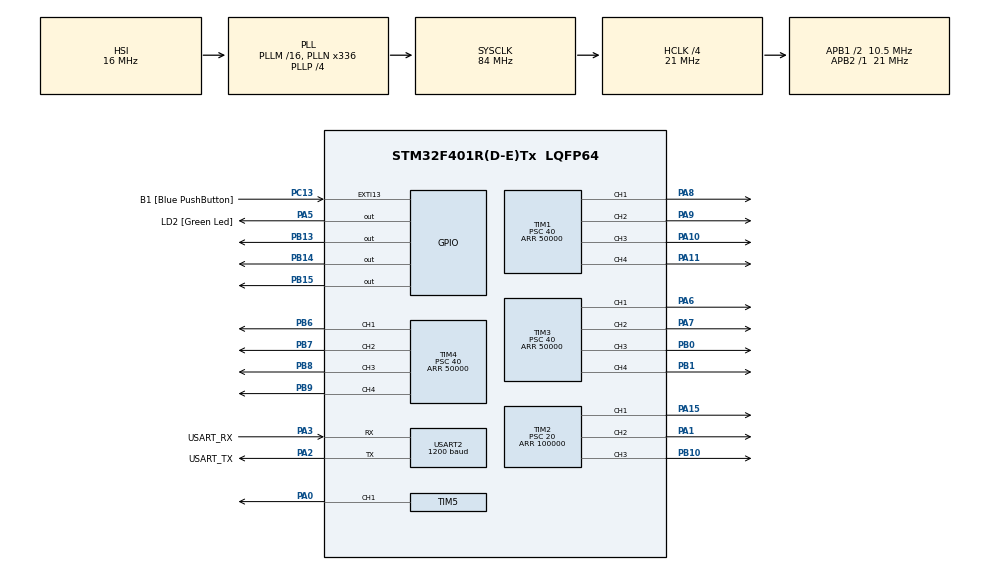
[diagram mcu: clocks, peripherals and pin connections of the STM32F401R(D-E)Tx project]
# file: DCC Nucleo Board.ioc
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Mcu.Family=STM32F4
Mcu.Name=STM32F401R(D-E)Tx
Mcu.Package=LQFP64
NVIC.PriorityGroup=NVIC_PRIORITYGROUP_4
NVIC.USART2_IRQn=true\:0\:0\:false\:false\:true\:true\:true\:true
PA0-WKUP.Signal=S_TIM5_CH1
PA1.Signal=S_TIM2_CH2
PA10.Signal=S_TIM1_CH3
PA11.Signal=S_TIM1_CH4
PA13.GPIO_Label=TMS
PA13.Mode=Trace_Asynchronous_SW
PA13.Signal=SYS_JTMS-SWDIO
PA14.GPIO_Label=TCK
PA14.Mode=Trace_Asynchronous_SW
PA14.Signal=SYS_JTCK-SWCLK
PA15.Signal=S_TIM2_CH1_ETR
PA2.GPIO_Label=USART_TX
PA2.GPIO_Mode=GPIO_MODE_AF_PP
PA2.GPIO_PuPd=GPIO_NOPULL
PA2.GPIO_Speed=GPIO_SPEED_FREQ_LOW
PA2.Mode=Asynchronous
PA2.Signal=USART2_TX
PA3.GPIO_Label=USART_RX
PA3.GPIO_Mode=GPIO_MODE_AF_PP
PA3.GPIO_PuPd=GPIO_NOPULL
PA3.GPIO_Speed=GPIO_SPEED_FREQ_LOW
PA3.Mode=Asynchronous
PA3.Signal=USART2_RX
PA5.GPIO_Label=LD2 [Green Led]
PA5.GPIO_PuPd=GPIO_NOPULL
PA5.GPIO_Speed=GPIO_SPEED_FREQ_LOW
PA5.Signal=GPIO_Output
PA6.Signal=S_TIM3_CH1
PA7.Signal=S_TIM3_CH2
PA8.Signal=S_TIM1_CH1
PA9.Signal=S_TIM1_CH2
PB0.Signal=S_TIM3_CH3
PB1.Signal=S_TIM3_CH4
PB10.Signal=S_TIM2_CH3
PB13.Signal=GPIO_Output
PB14.Signal=GPIO_Output
PB15.Signal=GPIO_Output
PB3.GPIO_Label=SWO
PB3.Mode=Trace_Asynchronous_SW
PB3.Signal=SYS_JTDO-SWO
PB6.Signal=S_TIM4_CH1
PB7.Signal=S_TIM4_CH2
PB8.Signal=S_TIM4_CH3
PB9.Signal=S_TIM4_CH4
PC13-ANTI_TAMP.GPIO_Label=B1 [Blue PushButton]
PC13-ANTI_TAMP.GPIO_ModeDefaultEXTI=GPIO_MODE_IT_FALLING
PC13-ANTI_TAMP.GPIO_PuPd=GPIO_NOPULL
PC13-ANTI_TAMP.Signal=GPXTI13
PC14-OSC32_IN.Mode=LSE-External-Oscillator
PC14-OSC32_IN.Signal=RCC_OSC32_IN
PC15-OSC32_OUT.Mode=LSE-External-Oscillator
PC15-OSC32_OUT.Signal=RCC_OSC32_OUT
PH0\ -\ OSC_IN.Mode=HSE-External-Clock-Source
PH0\ -\ OSC_IN.Signal=RCC_OSC_IN
PH1\ -\ OSC_OUT.Mode=HSE-External-Clock-Source
PH1\ -\ OSC_OUT.Signal=RCC_OSC_OUT
ProjectManager.HeapSize=0x200
ProjectManager.StackSize=0x400
ProjectManager.TargetToolchain=STM32CubeIDE
RCC.48MHZClocksFreq_Value=48000000
RCC.AHBCLKDivider=RCC_SYSCLK_DIV4
RCC.AHBFreq_Value=21000000
RCC.APB1CLKDivider=RCC_HCLK_DIV2
RCC.APB1Freq_Value=10500000
RCC.APB1TimFreq_Value=21000000
RCC.APB2Freq_Value=21000000
RCC.APB2TimFreq_Value=21000000
RCC.CortexFreq_Value=21000000
RCC.HCLKFreq_Value=21000000
RCC.HSE_VALUE=8000000
RCC.HSI_VALUE=16000000
RCC.PLLN=336
RCC.PLLP=RCC_PLLP_DIV4
RCC.PLLQ=7
RCC.SYSCLKFreq_VALUE=84000000
RCC.SYSCLKSource=RCC_SYSCLKSOURCE_PLLCLK
RCC.VCOOutputFreq_Value=336000000
SH.S_TIM1_CH1.0=TIM1_CH1,PWM Generation1 CH1
SH.S_TIM1_CH2.0=TIM1_CH2,PWM Generation2 CH2
SH.S_TIM1_CH3.0=TIM1_CH3,Output Compare3 CH3
SH.S_TIM1_CH4.0=TIM1_CH4,Output Compare4 CH4
SH.S_TIM2_CH1_ETR.0=TIM2_CH1,PWM Generation1 CH1
SH.S_TIM2_CH2.0=TIM2_CH2,PWM Generation2 CH2
SH.S_TIM2_CH3.0=TIM2_CH3,PWM Generation3 CH3
SH.S_TIM3_CH1.0=TIM3_CH1,PWM Generation1 CH1
SH.S_TIM3_CH2.0=TIM3_CH2,PWM Generation2 CH2
SH.S_TIM3_CH3.0=TIM3_CH3,PWM Generation3 CH3
SH.S_TIM3_CH4.0=TIM3_CH4,PWM Generation4 CH4
SH.S_TIM4_CH1.0=TIM4_CH1,PWM Generation1 CH1
SH.S_TIM4_CH2.0=TIM4_CH2,PWM Generation2 CH2
SH.S_TIM4_CH3.0=TIM4_CH3,PWM Generation3 CH3
SH.S_TIM4_CH4.0=TIM4_CH4,PWM Generation4 CH4
SH.S_TIM5_CH1.0=TIM5_CH1,PWM Generation1 CH1
TIM1.Channel-Output\ Compare3\ CH3=TIM_CHANNEL_3
TIM1.Channel-Output\ Compare4\ CH4=TIM_CHANNEL_4
TIM1.Channel-PWM\ Generation1\ CH1=TIM_CHANNEL_1
TIM1.Channel-PWM\ Generation2\ CH2=TIM_CHANNEL_2
TIM1.Period=50000
TIM1.Prescaler=40
TIM2.Channel-PWM\ Generation1\ CH1=TIM_CHANNEL_1
TIM2.Channel-PWM\ Generation2\ CH2=TIM_CHANNEL_2
TIM2.Channel-PWM\ Generation3\ CH3=TIM_CHANNEL_3
TIM2.Period=100000
TIM2.Prescaler=20
TIM2.Pulse-PWM\ Generation1\ CH1=0
TIM3.Channel-PWM\ Generation1\ CH1=TIM_CHANNEL_1
TIM3.Channel-PWM\ Generation2\ CH2=TIM_CHANNEL_2
TIM3.Channel-PWM\ Generation3\ CH3=TIM_CHANNEL_3
TIM3.Channel-PWM\ Generation4\ CH4=TIM_CHANNEL_4
TIM3.Period=50000
TIM3.Prescaler=40
TIM4.Channel-PWM\ Generation1\ CH1=TIM_CHANNEL_1
TIM4.Channel-PWM\ Generation2\ CH2=TIM_CHANNEL_2
TIM4.Channel-PWM\ Generation3\ CH3=TIM_CHANNEL_3
TIM4.Channel-PWM\ Generation4\ CH4=TIM_CHANNEL_4
TIM4.Period=50000
TIM4.Prescaler=40
TIM5.Channel-PWM\ Generation1\ CH1=TIM_CHANNEL_1
TIM5.Period=50000
TIM5.Prescaler=40
USART2.BaudRate=1200
USART2.VirtualMode=VM_ASYNC
VP_TIM1_VS_ClockSourceINT.Mode=Internal
VP_TIM2_VS_ClockSourceINT.Mode=Internal
VP_TIM3_VS_ClockSourceINT.Mode=Internal
VP_TIM4_VS_ClockSourceINT.Mode=Internal
VP_TIM5_VS_ClockSourceINT.Mode=Internal
board=NUCLEO-F401RE

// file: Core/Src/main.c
/* USER CODE BEGIN Header */
/**
  ******************************************************************************
  * @file           : main.c
  * @brief          : Main program body
  ******************************************************************************
  * @attention
  *
  * Copyright (c) 2025 STMicroelectronics.
  * All rights reserved.
  *
  * This software is licensed under terms that can be found in the LICENSE file
  * in the root directory of this software component.
  * If no LICENSE file comes with this software, it is provided AS-IS.
  *
  ******************************************************************************
  */
/* USER CODE END Header */
#include "main.h"

/* USER CODE BEGIN Includes */
#include "AD9833.h"
#include "string.h"
#include <stdlib.h>
#include <stdio.h>
/* USER CODE END Includes */

TIM_HandleTypeDef htim1;
TIM_HandleTypeDef htim2;
TIM_HandleTypeDef htim3;
TIM_HandleTypeDef htim4;
TIM_HandleTypeDef htim5;

UART_HandleTypeDef huart2;

/* USER CODE BEGIN PV */
uint8_t rx_data[1];        // buffer temporal de recepción
uint8_t rx_buffer[32];     // buffer donde vamos acumulando
int rx_index = 0;      // índice de escritura
uint8_t final_data[32];
int change_frequency = 0;
float final_freq = 0.0;
char buffer[50];
/* USER CODE END PV */

void SystemClock_Config(void);
static void MX_GPIO_Init(void);
static void MX_USART2_UART_Init(void);
static void MX_TIM2_Init(void);
static void MX_TIM1_Init(void);
static void MX_TIM3_Init(void);
static void MX_TIM4_Init(void);
static void MX_TIM5_Init(void);

/* USER CODE BEGIN 0 */
void HAL_UART_RxCpltCallback(UART_HandleTypeDef *huart)
{
    if (huart->Instance == USART2)  // <- MUY IMPORTANTE
    {
     memcpy(rx_buffer+rx_index,rx_data,1);
     rx_index++;
     if(rx_index >=32) rx_index=0;
        HAL_UART_Receive_IT(&huart2, rx_data, 1);  // volver a activar recepción
    }
}
/* USER CODE END 0 */

int main(void)
{

  /* MCU Configuration--------------------------------------------------------*/

  /* Reset of all peripherals, Initializes the Flash interface and the Systick. */
  HAL_Init();

  /* Configure the system clock */
  SystemClock_Config();

  /* Initialize all configured peripherals */
  MX_GPIO_Init();
  MX_USART2_UART_Init();
  MX_TIM2_Init();
  MX_TIM1_Init();
  MX_TIM3_Init();
  MX_TIM4_Init();
  MX_TIM5_Init();
  /* USER CODE BEGIN 2 */
  HAL_UART_Receive_IT(&huart2, rx_data, 1);
  // Set PWM Duty Cicles and initilize them

  TIM1->CCR1=25000;
  TIM1->CCR2=25000;
  TIM1->CCR3=25000;
  TIM1->CCR4=25000;

  TIM2->CCR1=50000;
  TIM2->CCR2=50000;
  TIM2->CCR3=50000;
  TIM2->CCR4=50000;

  TIM3->CCR1=25000;
  TIM3->CCR2=25000;
  TIM3->CCR3=25000;
  TIM3->CCR4=25000;

  TIM4->CCR1=25000;
  TIM4->CCR2=25000;
  TIM4->CCR3=25000;

  TIM5->CCR1=25000;

  HAL_TIM_PWM_Start(&htim1, TIM_CHANNEL_1);
  HAL_TIM_PWM_Start(&htim1, TIM_CHANNEL_2);
  HAL_TIM_PWM_Start(&htim1, TIM_CHANNEL_3);
  HAL_TIM_PWM_Start(&htim1, TIM_CHANNEL_4);

  HAL_TIM_PWM_Start(&htim2, TIM_CHANNEL_1);
  HAL_TIM_PWM_Start(&htim2, TIM_CHANNEL_2);
  HAL_TIM_PWM_Start(&htim2, TIM_CHANNEL_3);
  HAL_TIM_PWM_Start(&htim2, TIM_CHANNEL_4);

  HAL_TIM_PWM_Start(&htim3, TIM_CHANNEL_1);
  HAL_TIM_PWM_Start(&htim3, TIM_CHANNEL_2);
  HAL_TIM_PWM_Start(&htim3, TIM_CHANNEL_3);
  HAL_TIM_PWM_Start(&htim3, TIM_CHANNEL_4);

  HAL_TIM_PWM_Start(&htim4, TIM_CHANNEL_1);
  HAL_TIM_PWM_Start(&htim4, TIM_CHANNEL_2);
  HAL_TIM_PWM_Start(&htim4, TIM_CHANNEL_3);

  //HAL_TIM_PWM_Start(&htim5, TIM_CHANNEL_5);

  // Initial set of HIFREQ signal
  AD9833_Init(SQR, 1000.0, 0.0);

  /* USER CODE END 2 */

  /* Infinite loop */
  while (1)
  {

    /* USER CODE BEGIN 3 */
	   if(rx_data[0]=='\n'){
	    rx_data[0]='\0';  // actualiza rx_data[0] para que no entre infinito en el if.
	    memcpy(final_data,rx_buffer,rx_index); // copia buffer a final data
	    rx_index=0; // reinicia cuenta del buffer
	    final_freq = atof((char (*)) final_data); // guarda dato de string a float.
	    AD9833_Init(SQR, final_freq, 0.0);
	    sprintf(buffer, "Freq: %.f Hz\r\n", final_freq);
	    HAL_UART_Transmit(&huart2, (uint8_t*)buffer, strlen(buffer), HAL_MAX_DELAY);
	   }
  }
  /* USER CODE END 3 */
}

void SystemClock_Config(void)
{
  RCC_OscInitTypeDef RCC_OscInitStruct = {0};
  RCC_ClkInitTypeDef RCC_ClkInitStruct = {0};

  /** Configure the main internal regulator output voltage
  */
  __HAL_RCC_PWR_CLK_ENABLE();
  __HAL_PWR_VOLTAGESCALING_CONFIG(PWR_REGULATOR_VOLTAGE_SCALE2);

  /** Initializes the RCC Oscillators according to the specified parameters
  * in the RCC_OscInitTypeDef structure.
  */
  RCC_OscInitStruct.OscillatorType = RCC_OSCILLATORTYPE_HSI;
  RCC_OscInitStruct.HSIState = RCC_HSI_ON;
  RCC_OscInitStruct.HSICalibrationValue = RCC_HSICALIBRATION_DEFAULT;
  RCC_OscInitStruct.PLL.PLLState = RCC_PLL_ON;
  RCC_OscInitStruct.PLL.PLLSource = RCC_PLLSOURCE_HSI;
  RCC_OscInitStruct.PLL.PLLM = 16;
  RCC_OscInitStruct.PLL.PLLN = 336;
  RCC_OscInitStruct.PLL.PLLP = RCC_PLLP_DIV4;
  RCC_OscInitStruct.PLL.PLLQ = 7;
  if (HAL_RCC_OscConfig(&RCC_OscInitStruct) != HAL_OK)
  {
    Error_Handler();
  }

  /** Initializes the CPU, AHB and APB buses clocks
  */
  RCC_ClkInitStruct.ClockType = RCC_CLOCKTYPE_HCLK|RCC_CLOCKTYPE_SYSCLK
                              |RCC_CLOCKTYPE_PCLK1|RCC_CLOCKTYPE_PCLK2;
  RCC_ClkInitStruct.SYSCLKSource = RCC_SYSCLKSOURCE_PLLCLK;
  RCC_ClkInitStruct.AHBCLKDivider = RCC_SYSCLK_DIV4;
  RCC_ClkInitStruct.APB1CLKDivider = RCC_HCLK_DIV2;
  RCC_ClkInitStruct.APB2CLKDivider = RCC_HCLK_DIV1;

  if (HAL_RCC_ClockConfig(&RCC_ClkInitStruct, FLASH_LATENCY_0) != HAL_OK)
  {
    Error_Handler();
  }
}

static void MX_TIM1_Init(void)
{

  TIM_ClockConfigTypeDef sClockSourceConfig = {0};
  TIM_MasterConfigTypeDef sMasterConfig = {0};
  TIM_OC_InitTypeDef sConfigOC = {0};
  TIM_BreakDeadTimeConfigTypeDef sBreakDeadTimeConfig = {0};

  htim1.Instance = TIM1;
  htim1.Init.Prescaler = 40;
  htim1.Init.CounterMode = TIM_COUNTERMODE_UP;
  htim1.Init.Period = 50000;
  htim1.Init.ClockDivision = TIM_CLOCKDIVISION_DIV1;
  htim1.Init.RepetitionCounter = 0;
  htim1.Init.AutoReloadPreload = TIM_AUTORELOAD_PRELOAD_DISABLE;
  if (HAL_TIM_Base_Init(&htim1) != HAL_OK)
  {
    Error_Handler();
  }
  sClockSourceConfig.ClockSource = TIM_CLOCKSOURCE_INTERNAL;
  if (HAL_TIM_ConfigClockSource(&htim1, &sClockSourceConfig) != HAL_OK)
  {
    Error_Handler();
  }
  if (HAL_TIM_PWM_Init(&htim1) != HAL_OK)
  {
    Error_Handler();
  }
  if (HAL_TIM_OC_Init(&htim1) != HAL_OK)
  {
    Error_Handler();
  }
  sMasterConfig.MasterOutputTrigger = TIM_TRGO_RESET;
  sMasterConfig.MasterSlaveMode = TIM_MASTERSLAVEMODE_DISABLE;
  if (HAL_TIMEx_MasterConfigSynchronization(&htim1, &sMasterConfig) != HAL_OK)
  {
    Error_Handler();
  }
  sConfigOC.OCMode = TIM_OCMODE_PWM1;
  sConfigOC.Pulse = 0;
  sConfigOC.OCPolarity = TIM_OCPOLARITY_HIGH;
  sConfigOC.OCNPolarity = TIM_OCNPOLARITY_HIGH;
  sConfigOC.OCFastMode = TIM_OCFAST_DISABLE;
  sConfigOC.OCIdleState = TIM_OCIDLESTATE_RESET;
  sConfigOC.OCNIdleState = TIM_OCNIDLESTATE_RESET;
  if (HAL_TIM_PWM_ConfigChannel(&htim1, &sConfigOC, TIM_CHANNEL_1) != HAL_OK)
  {
    Error_Handler();
  }
  if (HAL_TIM_PWM_ConfigChannel(&htim1, &sConfigOC, TIM_CHANNEL_2) != HAL_OK)
  {
    Error_Handler();
  }
  sConfigOC.OCMode = TIM_OCMODE_TIMING;
  if (HAL_TIM_OC_ConfigChannel(&htim1, &sConfigOC, TIM_CHANNEL_3) != HAL_OK)
  {
    Error_Handler();
  }
  if (HAL_TIM_OC_ConfigChannel(&htim1, &sConfigOC, TIM_CHANNEL_4) != HAL_OK)
  {
    Error_Handler();
  }
  sBreakDeadTimeConfig.OffStateRunMode = TIM_OSSR_DISABLE;
  sBreakDeadTimeConfig.OffStateIDLEMode = TIM_OSSI_DISABLE;
  sBreakDeadTimeConfig.LockLevel = TIM_LOCKLEVEL_OFF;
  sBreakDeadTimeConfig.DeadTime = 0;
  sBreakDeadTimeConfig.BreakState = TIM_BREAK_DISABLE;
  sBreakDeadTimeConfig.BreakPolarity = TIM_BREAKPOLARITY_HIGH;
  sBreakDeadTimeConfig.AutomaticOutput = TIM_AUTOMATICOUTPUT_DISABLE;
  if (HAL_TIMEx_ConfigBreakDeadTime(&htim1, &sBreakDeadTimeConfig) != HAL_OK)
  {
    Error_Handler();
  }
  HAL_TIM_MspPostInit(&htim1);

}

static void MX_TIM2_Init(void)
{

  TIM_ClockConfigTypeDef sClockSourceConfig = {0};
  TIM_MasterConfigTypeDef sMasterConfig = {0};
  TIM_OC_InitTypeDef sConfigOC = {0};

  htim2.Instance = TIM2;
  htim2.Init.Prescaler = 20;
  htim2.Init.CounterMode = TIM_COUNTERMODE_UP;
  htim2.Init.Period = 100000;
  htim2.Init.ClockDivision = TIM_CLOCKDIVISION_DIV1;
  htim2.Init.AutoReloadPreload = TIM_AUTORELOAD_PRELOAD_DISABLE;
  if (HAL_TIM_Base_Init(&htim2) != HAL_OK)
  {
    Error_Handler();
  }
  sClockSourceConfig.ClockSource = TIM_CLOCKSOURCE_INTERNAL;
  if (HAL_TIM_ConfigClockSource(&htim2, &sClockSourceConfig) != HAL_OK)
  {
    Error_Handler();
  }
  if (HAL_TIM_PWM_Init(&htim2) != HAL_OK)
  {
    Error_Handler();
  }
  sMasterConfig.MasterOutputTrigger = TIM_TRGO_RESET;
  sMasterConfig.MasterSlaveMode = TIM_MASTERSLAVEMODE_DISABLE;
  if (HAL_TIMEx_MasterConfigSynchronization(&htim2, &sMasterConfig) != HAL_OK)
  {
    Error_Handler();
  }
  sConfigOC.OCMode = TIM_OCMODE_PWM1;
  sConfigOC.Pulse = 0;
  sConfigOC.OCPolarity = TIM_OCPOLARITY_HIGH;
  sConfigOC.OCFastMode = TIM_OCFAST_DISABLE;
  if (HAL_TIM_PWM_ConfigChannel(&htim2, &sConfigOC, TIM_CHANNEL_1) != HAL_OK)
  {
    Error_Handler();
  }
  if (HAL_TIM_PWM_ConfigChannel(&htim2, &sConfigOC, TIM_CHANNEL_2) != HAL_OK)
  {
    Error_Handler();
  }
  if (HAL_TIM_PWM_ConfigChannel(&htim2, &sConfigOC, TIM_CHANNEL_3) != HAL_OK)
  {
    Error_Handler();
  }
  HAL_TIM_MspPostInit(&htim2);

}

static void MX_TIM3_Init(void)
{

  TIM_ClockConfigTypeDef sClockSourceConfig = {0};
  TIM_MasterConfigTypeDef sMasterConfig = {0};
  TIM_OC_InitTypeDef sConfigOC = {0};

  htim3.Instance = TIM3;
  htim3.Init.Prescaler = 40;
  htim3.Init.CounterMode = TIM_COUNTERMODE_UP;
  htim3.Init.Period = 50000;
  htim3.Init.ClockDivision = TIM_CLOCKDIVISION_DIV1;
  htim3.Init.AutoReloadPreload = TIM_AUTORELOAD_PRELOAD_DISABLE;
  if (HAL_TIM_Base_Init(&htim3) != HAL_OK)
  {
    Error_Handler();
  }
  sClockSourceConfig.ClockSource = TIM_CLOCKSOURCE_INTERNAL;
  if (HAL_TIM_ConfigClockSource(&htim3, &sClockSourceConfig) != HAL_OK)
  {
    Error_Handler();
  }
  if (HAL_TIM_PWM_Init(&htim3) != HAL_OK)
  {
    Error_Handler();
  }
  sMasterConfig.MasterOutputTrigger = TIM_TRGO_RESET;
  sMasterConfig.MasterSlaveMode = TIM_MASTERSLAVEMODE_DISABLE;
  if (HAL_TIMEx_MasterConfigSynchronization(&htim3, &sMasterConfig) != HAL_OK)
  {
    Error_Handler();
  }
  sConfigOC.OCMode = TIM_OCMODE_PWM1;
  sConfigOC.Pulse = 0;
  sConfigOC.OCPolarity = TIM_OCPOLARITY_HIGH;
  sConfigOC.OCFastMode = TIM_OCFAST_DISABLE;
  if (HAL_TIM_PWM_ConfigChannel(&htim3, &sConfigOC, TIM_CHANNEL_1) != HAL_OK)
  {
    Error_Handler();
  }
  if (HAL_TIM_PWM_ConfigChannel(&htim3, &sConfigOC, TIM_CHANNEL_2) != HAL_OK)
  {
    Error_Handler();
  }
  if (HAL_TIM_PWM_ConfigChannel(&htim3, &sConfigOC, TIM_CHANNEL_3) != HAL_OK)
  {
    Error_Handler();
  }
  if (HAL_TIM_PWM_ConfigChannel(&htim3, &sConfigOC, TIM_CHANNEL_4) != HAL_OK)
  {
    Error_Handler();
  }
  HAL_TIM_MspPostInit(&htim3);

}

static void MX_TIM4_Init(void)
{

  TIM_ClockConfigTypeDef sClockSourceConfig = {0};
  TIM_MasterConfigTypeDef sMasterConfig = {0};
  TIM_OC_InitTypeDef sConfigOC = {0};

  htim4.Instance = TIM4;
  htim4.Init.Prescaler = 40;
  htim4.Init.CounterMode = TIM_COUNTERMODE_UP;
  htim4.Init.Period = 50000;
  htim4.Init.ClockDivision = TIM_CLOCKDIVISION_DIV1;
  htim4.Init.AutoReloadPreload = TIM_AUTORELOAD_PRELOAD_DISABLE;
  if (HAL_TIM_Base_Init(&htim4) != HAL_OK)
  {
    Error_Handler();
  }
  sClockSourceConfig.ClockSource = TIM_CLOCKSOURCE_INTERNAL;
  if (HAL_TIM_ConfigClockSource(&htim4, &sClockSourceConfig) != HAL_OK)
  {
    Error_Handler();
  }
  if (HAL_TIM_PWM_Init(&htim4) != HAL_OK)
  {
    Error_Handler();
  }
  sMasterConfig.MasterOutputTrigger = TIM_TRGO_RESET;
  sMasterConfig.MasterSlaveMode = TIM_MASTERSLAVEMODE_DISABLE;
  if (HAL_TIMEx_MasterConfigSynchronization(&htim4, &sMasterConfig) != HAL_OK)
  {
    Error_Handler();
  }
  sConfigOC.OCMode = TIM_OCMODE_PWM1;
  sConfigOC.Pulse = 0;
  sConfigOC.OCPolarity = TIM_OCPOLARITY_HIGH;
  sConfigOC.OCFastMode = TIM_OCFAST_DISABLE;
  if (HAL_TIM_PWM_ConfigChannel(&htim4, &sConfigOC, TIM_CHANNEL_1) != HAL_OK)
  {
    Error_Handler();
  }
  if (HAL_TIM_PWM_ConfigChannel(&htim4, &sConfigOC, TIM_CHANNEL_2) != HAL_OK)
  {
    Error_Handler();
  }
  if (HAL_TIM_PWM_ConfigChannel(&htim4, &sConfigOC, TIM_CHANNEL_3) != HAL_OK)
  {
    Error_Handler();
  }
  if (HAL_TIM_PWM_ConfigChannel(&htim4, &sConfigOC, TIM_CHANNEL_4) != HAL_OK)
  {
    Error_Handler();
  }
  HAL_TIM_MspPostInit(&htim4);

}

static void MX_TIM5_Init(void)
{

  TIM_ClockConfigTypeDef sClockSourceConfig = {0};
  TIM_MasterConfigTypeDef sMasterConfig = {0};
  TIM_OC_InitTypeDef sConfigOC = {0};

  htim5.Instance = TIM5;
  htim5.Init.Prescaler = 40;
  htim5.Init.CounterMode = TIM_COUNTERMODE_UP;
  htim5.Init.Period = 50000;
  htim5.Init.ClockDivision = TIM_CLOCKDIVISION_DIV1;
  htim5.Init.AutoReloadPreload = TIM_AUTORELOAD_PRELOAD_DISABLE;
  if (HAL_TIM_Base_Init(&htim5) != HAL_OK)
  {
    Error_Handler();
  }
  sClockSourceConfig.ClockSource = TIM_CLOCKSOURCE_INTERNAL;
  if (HAL_TIM_ConfigClockSource(&htim5, &sClockSourceConfig) != HAL_OK)
  {
    Error_Handler();
  }
  if (HAL_TIM_PWM_Init(&htim5) != HAL_OK)
  {
    Error_Handler();
  }
  sMasterConfig.MasterOutputTrigger = TIM_TRGO_RESET;
  sMasterConfig.MasterSlaveMode = TIM_MASTERSLAVEMODE_DISABLE;
  if (HAL_TIMEx_MasterConfigSynchronization(&htim5, &sMasterConfig) != HAL_OK)
  {
    Error_Handler();
  }
  sConfigOC.OCMode = TIM_OCMODE_PWM1;
  sConfigOC.Pulse = 0;
  sConfigOC.OCPolarity = TIM_OCPOLARITY_HIGH;
  sConfigOC.OCFastMode = TIM_OCFAST_DISABLE;
  if (HAL_TIM_PWM_ConfigChannel(&htim5, &sConfigOC, TIM_CHANNEL_1) != HAL_OK)
  {
    Error_Handler();
  }
  HAL_TIM_MspPostInit(&htim5);

}

static void MX_USART2_UART_Init(void)
{

  huart2.Instance = USART2;
  huart2.Init.BaudRate = 1200;
  huart2.Init.WordLength = UART_WORDLENGTH_8B;
  huart2.Init.StopBits = UART_STOPBITS_1;
  huart2.Init.Parity = UART_PARITY_NONE;
  huart2.Init.Mode = UART_MODE_TX_RX;
  huart2.Init.HwFlowCtl = UART_HWCONTROL_NONE;
  huart2.Init.OverSampling = UART_OVERSAMPLING_16;
  if (HAL_UART_Init(&huart2) != HAL_OK)
  {
    Error_Handler();
  }

}

static void MX_GPIO_Init(void)
{
  GPIO_InitTypeDef GPIO_InitStruct = {0};

  /* GPIO Ports Clock Enable */
  __HAL_RCC_GPIOC_CLK_ENABLE();
  __HAL_RCC_GPIOH_CLK_ENABLE();
  __HAL_RCC_GPIOA_CLK_ENABLE();
  __HAL_RCC_GPIOB_CLK_ENABLE();

  /*Configure GPIO pin Output Level */
  HAL_GPIO_WritePin(LD2_GPIO_Port, LD2_Pin, GPIO_PIN_RESET);

  /*Configure GPIO pin Output Level */
  HAL_GPIO_WritePin(GPIOB, GPIO_PIN_13|GPIO_PIN_14|GPIO_PIN_15, GPIO_PIN_RESET);

  /*Configure GPIO pin : B1_Pin */
  GPIO_InitStruct.Pin = B1_Pin;
  GPIO_InitStruct.Mode = GPIO_MODE_IT_FALLING;
  GPIO_InitStruct.Pull = GPIO_NOPULL;
  HAL_GPIO_Init(B1_GPIO_Port, &GPIO_InitStruct);

  /*Configure GPIO pin : LD2_Pin */
  GPIO_InitStruct.Pin = LD2_Pin;
  GPIO_InitStruct.Mode = GPIO_MODE_OUTPUT_PP;
  GPIO_InitStruct.Pull = GPIO_NOPULL;
  GPIO_InitStruct.Speed = GPIO_SPEED_FREQ_LOW;
  HAL_GPIO_Init(LD2_GPIO_Port, &GPIO_InitStruct);

  /*Configure GPIO pins : PB13 PB14 PB15 */
  GPIO_InitStruct.Pin = GPIO_PIN_13|GPIO_PIN_14|GPIO_PIN_15;
  GPIO_InitStruct.Mode = GPIO_MODE_OUTPUT_PP;
  GPIO_InitStruct.Pull = GPIO_NOPULL;
  GPIO_InitStruct.Speed = GPIO_SPEED_FREQ_LOW;
  HAL_GPIO_Init(GPIOB, &GPIO_InitStruct);

}

void Error_Handler(void)
{
  __disable_irq();
  while (1)
  {
  }
}
